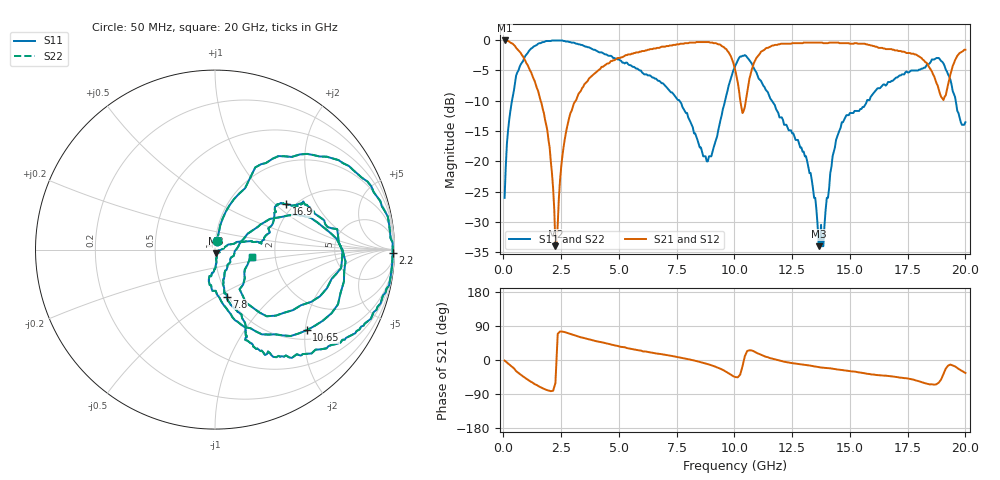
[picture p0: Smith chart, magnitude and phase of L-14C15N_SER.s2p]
#	mhz	s	ma	r	50
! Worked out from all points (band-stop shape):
!   400 points, 50 MHz to 20 GHz, reference 50 ohm
!   highest |S21| = -0.09 dB at 50 MHz (marker M1); lowest = -34.0 dB at 2.25 GHz (marker M2)
!   |S21| within 3 dB of the highest: 4.904 GHz to 9.886 GHz (4.982 GHz wide, 67.4 % of centre); 10.94 GHz to 18.12 GHz (7.188 GHz wide, 49.5 % of centre) (the widest 2 of 4)
!   lowest |S11| = -34.0 dB at 13.65 GHz (marker M3), VSWR 1.04, Z = 50.3 - j1.99 ohm
!   |S11| at or under -10 dB: 7.619 GHz to 9.594 GHz (1.975 GHz wide, 23 % of centre); 11.62 GHz to 15.74 GHz (4.122 GHz wide, 30.1 % of centre); 19.58 GHz to end of sweep (the widest 3 of 4)
!   |S22| runs from -34.0 to -0.1 dB; largest |S21 - S12| = 0
!   S11 on the Smith chart (normalised r, x): 50 MHz: 1.02, +0.10; 2.2 GHz: open; 7.8 GHz: 0.98, -0.56; 10.65 GHz: 1.22, -2.03; 16.9 GHz: 1.82, +1.18; 20 GHz: 1.51, -0.12
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50  0.05 77.0  0.99 -1.5  0.99 -1.5  0.05 77.0
550  0.51 63.9  0.86 -29.4  0.86 -29.4  0.51 63.9
1750  0.96 14.7  0.25 -76.0  0.25 -76.0  0.96 14.7
2200  0.99 -1.0  0.04 -71.0  0.04 -71.0  0.99 -1.0
2250  0.99 -2.9  0.02 -60.8  0.02 -60.8  0.99 -2.9
2650  0.98 -14.1  0.15 73.7  0.15 73.7  0.98 -14.1
3400  0.91 -30.8  0.4 59.3  0.4 59.3  0.91 -30.8
6700  0.46 -68.4  0.86 16.6  0.86 16.6  0.46 -68.4
7800  0.27 -75.9  0.93 4.7  0.93 4.7  0.27 -75.9
8850  0.1 -25.9  0.96 -10.7  0.96 -10.7  0.1 -25.9
10050  0.62 11.3  0.55 -45.1  0.55 -45.1  0.62 11.3
10350  0.74 -13.9  0.25 -16.7  0.25 -16.7  0.74 -13.9
10650  0.68 -41.4  0.48 25.8  0.48 25.8  0.68 -41.4
11650  0.31 -81.4  0.9 3.3  0.9 3.3  0.31 -81.4
13350  0.07 -83.4  0.95 -15.6  0.95 -15.6  0.07 -83.4
13650  0.02 -80.6  0.95 -18.8  0.95 -18.8  0.02 -80.6
14650  0.21 13.1  0.94 -26.4  0.94 -26.4  0.21 13.1
16700  0.45 35.0  0.84 -42.3  0.84 -42.3  0.45 35.0
16900  0.47 32.5  0.83 -43.9  0.83 -43.9  0.47 32.5
18750  0.71 -0.8  0.44 -63.9  0.44 -63.9  0.71 -0.8
19350  0.47 -52.2  0.52 -12.1  0.52 -12.1  0.47 -52.2
20000  0.21 -10.6  0.83 -34.2  0.83 -34.2  0.21 -10.6
